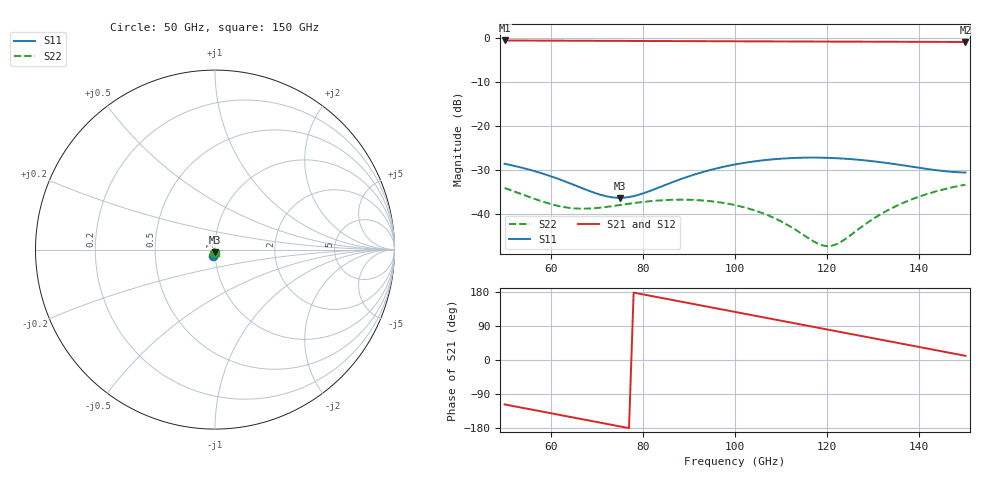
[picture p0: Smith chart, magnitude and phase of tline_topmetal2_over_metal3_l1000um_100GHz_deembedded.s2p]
! Created with skrf 2.0.1 (http://scikit-rf.org).
# GHz S DB R 50.0
!freq dBS11 angS11 dBS21 angS21 dBS12 angS12 dBS22 angS22
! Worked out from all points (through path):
!   101 points, 50 GHz to 150 GHz, reference 50 ohm
!   highest |S21| = -0.60 dB at 50 GHz (marker M1); lowest = -0.9 dB at 150 GHz (marker M2)
!   group delay of S21, straight-line fit = 6.44 ps
!   lowest |S11| = -36.3 dB at 75 GHz (marker M3), VSWR 1.03, Z = 49.8 - j1.52 ohm
!   |S11| at or under -10 dB: start of sweep to end of sweep
!   |S22| runs from -47.3 to -33.3 dB; largest |S21 - S12| = 1.1e-14
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50  -28.59 -107.3  -0.60 -117.2  -0.60 -117.2  -34.08 -102.2
55  -29.82 -114.6  -0.62 -128.8  -0.62 -128.8  -35.98 -105.1
60  -31.41 -119.1  -0.64 -140.4  -0.64 -140.4  -37.72 -103.0
64  -32.95 -119.7  -0.66 -149.7  -0.66 -149.7  -38.58 -98.2
67  -34.19 -117.2  -0.67 -156.6  -0.67 -156.6  -38.78 -94.2
72  -35.95 -105.7  -0.69 -168.2  -0.69 -168.2  -38.39 -90.4
75  -36.32 -94.8  -0.70 -175.2  -0.70 -175.2  -37.96 -90.7
79  -35.66 -80.8  -0.72 175.5  -0.72 175.5  -37.38 -93.9
84  -33.76 -70.7  -0.73 164.0  -0.73 164.0  -36.88 -101.3
92  -30.77 -69.1  -0.76 145.4  -0.76 145.4  -36.84 -118.8
100  -28.74 -75.6  -0.79 126.9  -0.79 126.9  -37.97 -141.3
104  -28.07 -80.1  -0.80 117.6  -0.80 117.6  -39.08 -154.8
108  -27.60 -84.7  -0.82 108.4  -0.82 108.4  -40.66 -170.6
113  -27.26 -90.7  -0.83 96.8  -0.83 96.8  -43.46 163.2
117  -27.19 -95.2  -0.85 87.5  -0.85 87.5  -46.16 130.6
120  -27.24 -98.4  -0.86 80.6  -0.86 80.6  -47.28 95.1
122  -27.32 -100.4  -0.86 75.9  -0.86 75.9  -46.85 69.5
128  -27.79 -105.4  -0.88 62.0  -0.88 62.0  -42.51 15.0
134  -28.56 -108.1  -0.90 48.1  -0.90 48.1  -38.68 -16.5
142  -29.80 -106.4  -0.92 29.6  -0.92 29.6  -35.35 -48.5
146  -30.31 -102.6  -0.93 20.3  -0.93 20.3  -34.21 -63.2
150  -30.57 -97.3  -0.94 11.1  -0.94 11.1  -33.33 -77.5
